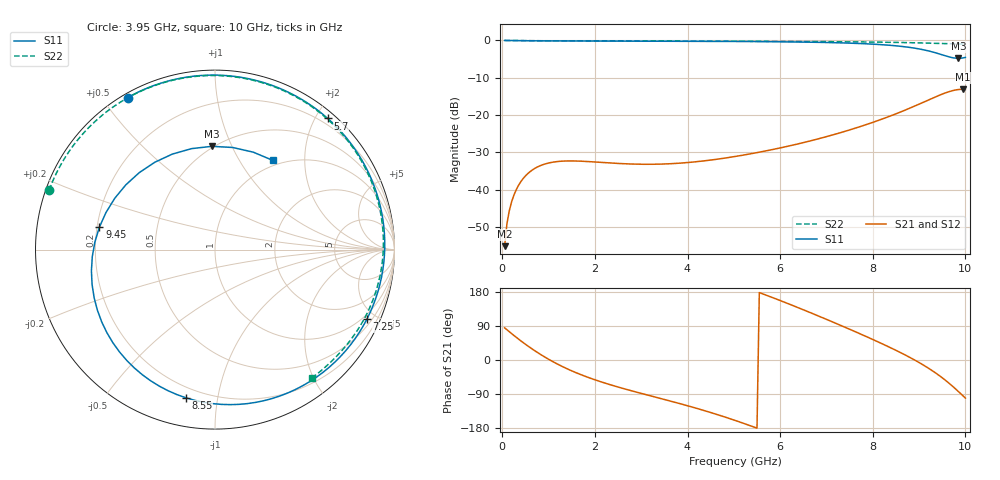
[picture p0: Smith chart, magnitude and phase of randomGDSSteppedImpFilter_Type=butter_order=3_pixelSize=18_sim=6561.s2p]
! freq	dB(S11)	phase(S11)	dB(S12)	phase(S12)
!  dB(S21)	phase(S21)	dB(S22)	phase(S22)
!S-par simulation data
#  GHz  S  DB  R 50
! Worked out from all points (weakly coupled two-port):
!   200 points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, 50 MHz to 10 GHz, reference 50 ohm
!   highest |S21| = -13.12 dB at 9.95 GHz (marker M1); lowest = -55.2 dB at 50 MHz (marker M2)
!   lowest |S11| = -4.8 dB at 9.85 GHz (marker M3), VSWR 3.71, Z = 24.5 + j42.1 ohm
!   |S11| at or under -10 dB: nowhere
!   |S22| runs from -0.9 to 0.0 dB; largest |S21 - S12| = 0
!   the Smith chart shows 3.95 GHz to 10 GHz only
!   S11 on the Smith chart (normalised r, x): 3.95 GHz: 0.02, +0.58; 5.7 GHz: 0.11, +2.17; 7.25 GHz: 0.77, -4.45; 8.55 GHz: 0.14, -0.81; 9.45 GHz: 0.21, +0.09; 10 GHz: 0.92, +1.41
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0.05  -0.01 -6.0  -55.19 84.9  -55.19 84.9  -0.00 -4.2
0.15  -0.02 -17.7  -45.75 74.7  -45.75 74.7  -0.02 -12.4
0.25  -0.04 -29.2  -41.51 64.8  -41.51 64.8  -0.03 -20.5
0.5  -0.08 -56.3  -36.34 41.5  -36.34 41.5  -0.06 -40.2
0.75  -0.10 -80.4  -34.00 20.5  -34.00 20.5  -0.07 -58.8
1.25  -0.13 -119.4  -32.42 -14.4  -32.42 -14.4  -0.10 -91.5
1.75  -0.15 -149.0  -32.42 -41.2  -32.42 -41.2  -0.11 -118.4
2.5  -0.16 176.1  -33.00 -71.4  -33.00 -71.4  -0.13 -150.8
3.4  -0.18 140.7  -33.18 -101.0  -33.18 -101.0  -0.14 177.7
3.95  -0.20 119.9  -32.81 -119.0  -32.81 -119.0  -0.16 160.3
5.05  -0.27 76.9  -31.08 -160.4  -31.08 -160.4  -0.20 126.9
5.7  -0.32 49.3  -29.61 171.0  -29.61 171.0  -0.24 106.7
6.7  -0.47 3.0  -26.79 122.6  -26.79 122.6  -0.30 73.8
7.25  -0.62 -24.7  -24.93 94.4  -24.93 94.4  -0.34 54.3
7.85  -0.89 -57.2  -22.61 62.4  -22.61 62.4  -0.41 31.9
8.35  -1.28 -87.6  -20.41 34.4  -20.41 34.4  -0.49 12.5
8.55  -1.50 -101.2  -19.44 22.5  -19.44 22.5  -0.53 4.6
9.1  -2.51 -147.4  -16.53 -13.8  -16.53 -13.8  -0.69 -17.5
9.45  -3.66 169.0  -14.64 -42.3  -14.64 -42.3  -0.82 -31.4
9.85  -4.80 91.7  -13.17 -83.3  -13.17 -83.3  -0.94 -47.0
9.95  -4.68 68.5  -13.12 -94.7  -13.12 -94.7  -0.95 -50.9
10  -4.55 57.0  -13.16 -100.5  -13.16 -100.5  -0.95 -52.8
